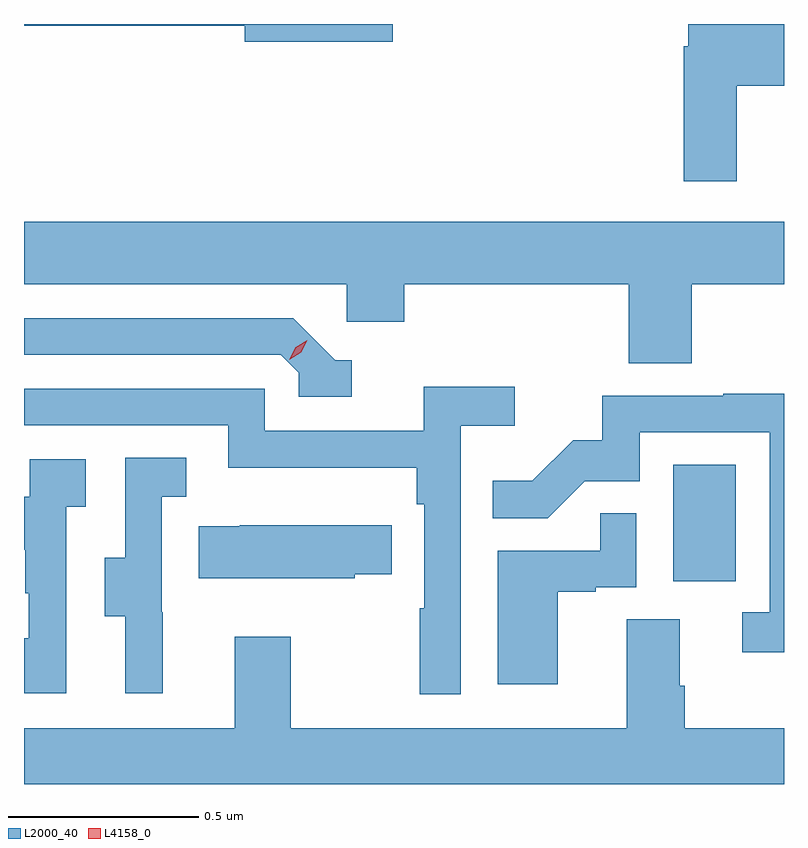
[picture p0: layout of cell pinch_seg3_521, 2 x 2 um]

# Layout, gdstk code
import gdstk
lib = gdstk.Library(unit=1e-6, precision=1e-09)
def R(c, l, rs):  # rectangles x0, y0, x1, y1
    for r in rs: c.add(gdstk.rectangle(r[:2], r[2:], *l))
def P(c, l, *ps):  # polygons
    for p in ps: c.add(gdstk.Polygon(p, *l))
L2000_40 = (2000, 40)
L4158_0 = (4158, 0)

pinch_seg3_521 = lib.new_cell('pinch_seg3_521')
R(pinch_seg3_521, L2000_40, [(975.884,676.158,976.048,676.465)])
P(pinch_seg3_521, L2000_40, [(975.145,677.625),(974.175,677.625),(974.175,677.62),(974.756,677.62),(974.756,677.578),(975.145,677.578)],
  [(976.051,677.462),(976.175,677.462),(976.175,677.625),(975.923,677.625),(975.923,677.566),(975.911,677.566),(975.911,677.211),(976.051,677.211)],
  [(975.932,676.94),(976.175,676.94),(976.175,677.104),(974.175,677.104),(974.175,676.94),(975.024,676.94),(975.024,676.842),(975.176,676.842),(975.176,676.94),(975.767,676.94),(975.767,676.732),(975.932,676.732)],
  [(975.037,676.74),(974.994,676.74),(974.883,676.851),(974.175,676.851),(974.175,676.755),(974.85,676.755),(974.898,676.707),(974.898,676.644),(975.037,676.644)],
  [(975.324,676.568),(975.466,676.568),(975.466,676.67),(975.227,676.67),(975.227,676.554),(974.808,676.554),(974.808,676.665),(974.175,676.665),(974.175,676.569),(974.712,676.569),(974.712,676.457),(975.208,676.457),(975.208,676.361),(975.228,676.361),(975.228,676.088),(975.216,676.088),(975.216,675.861),(975.324,675.861)],
  [(976.175,676.652),(976.015,676.652),(976.015,676.647),(975.697,676.647),(975.697,676.53),(975.62,676.53),(975.513,676.423),(975.409,676.423),(975.409,676.324),(975.553,676.324),(975.651,676.422),(975.795,676.422),(975.795,676.551),(976.137,676.551),(976.137,676.077),(976.065,676.077),(976.065,675.972),(976.175,675.972)],
  [(974.54,676.077),(974.538,676.077),(974.538,676.381),(974.602,676.381),(974.602,676.484),(974.442,676.484),(974.442,676.221),(974.387,676.221),(974.387,676.066),(974.441,676.066),(974.441,675.864),(974.54,675.864)],
  [(974.286,676.355),(974.338,676.355),(974.338,676.479),(974.19,676.479),(974.19,676.381),(974.175,676.381),(974.175,676.241),(974.178,676.241),(974.178,676.127),(974.188,676.127),(974.188,676.008),(974.175,676.008),(974.175,675.864),(974.286,675.864)],
  [(975.58,676.131),(975.68,676.131),(975.68,676.143),(975.786,676.143),(975.786,676.337),(975.691,676.337),(975.691,676.239),(975.422,676.239),(975.422,675.888),(975.58,675.888)],
  [(975.045,676.177),(975.143,676.177),(975.143,676.306),(974.743,676.306),(974.743,676.303),(974.635,676.303),(974.635,676.166),(975.045,676.166)],
  [(976.175,675.772),(975.914,675.772),(975.914,675.884),(975.901,675.884),(975.901,676.058),(975.761,676.058),(975.761,675.772),(974.877,675.772),(974.877,676.012),(974.729,676.012),(974.729,675.772),(974.175,675.772),(974.175,675.625),(976.175,675.625)])
P(pinch_seg3_521, L4158_0, [(974.873,676.742),(974.873,676.742),(974.89,676.774),(974.921,676.793),(974.921,676.793),(974.921,676.793),(974.904,676.761),(974.873,676.742)])

lib.write_gds('pinch_seg3_521.gds')
